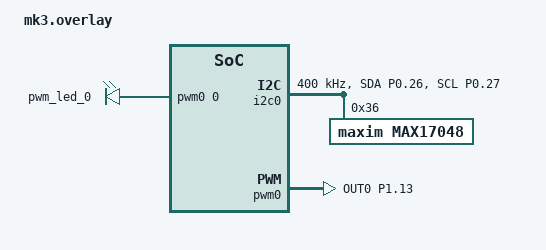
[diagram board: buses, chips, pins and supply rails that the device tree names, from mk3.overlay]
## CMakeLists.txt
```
#
# Copyright (c) 2020 Nordic Semiconductor ASA
#
# SPDX-License-Identifier: LicenseRef-Nordic-5-Clause
#
cmake_minimum_required(VERSION 3.20.0)

set(PM_STATIC_YML_FILE
  ${CMAKE_CURRENT_SOURCE_DIR}/boards/pm_static_${BOARD}.yml
  )

find_package(Zephyr REQUIRED HINTS $ENV{ZEPHYR_BASE})
project(NONE)

# NORDIC SDK APP START
FILE(GLOB src src/*.c)

target_sources(app PRIVATE 
    ${src}
)
target_include_directories(app PRIVATE include)
# NORDIC SDK APP END

# Preinitialization related to Thingy:53 DFU
target_sources_ifdef(CONFIG_BOARD_THINGY53_NRF5340_CPUAPP app PRIVATE
  boards/thingy53.c
)
target_sources_ifdef(CONFIG_BOARD_THINGY53_NRF5340_CPUAPP_NS app PRIVATE
  boards/thingy53.c
)
```

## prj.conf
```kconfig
#
# Copyright (c) 2020 Nordic Semiconductor ASA
#
# SPDX-License-Identifier: LicenseRef-Nordic-5-Clause
#
CONFIG_NCS_SAMPLES_DEFAULTS=y

# General configuration
CONFIG_SYSTEM_WORKQUEUE_STACK_SIZE=2048
CONFIG_FLASH=y
CONFIG_FLASH_MAP=y
CONFIG_NVS=y
CONFIG_SETTINGS=y
CONFIG_HWINFO=y
CONFIG_DK_LIBRARY=y
CONFIG_PARTITION_MANAGER_ENABLED=y
CONFIG_PM_SINGLE_IMAGE=y
CONFIG_PM_PARTITION_SIZE_SETTINGS_STORAGE=0x8000


# # Bootloader configuration
CONFIG_STREAM_FLASH=y
CONFIG_BOOTLOADER_MCUBOOT=y
CONFIG_IMG_MANAGER=y
CONFIG_MCUBOOT_IMG_MANAGER=y
CONFIG_MCUBOOT_GENERATE_CONFIRMED_IMAGE=y
CONFIG_MCUBOOT_IMGTOOL_SIGN_VERSION="1.0.0+0"
CONFIG_REBOOT=y

# Bluetooth configuration
CONFIG_BT=y
CONFIG_BT_COMPANY_ID=0x0059
CONFIG_BT_DEVICE_NAME="Maiori Toledo Light"
CONFIG_BT_L2CAP_TX_MTU=69
CONFIG_BT_L2CAP_TX_BUF_COUNT=8
CONFIG_BT_OBSERVER=y
CONFIG_BT_PERIPHERAL=y
CONFIG_BT_SETTINGS=y
CONFIG_BT_ECC=y
CONFIG_BT_TINYCRYPT_ECC=y

# Disable unused Bluetooth features
# CONFIG_BT_CTLR_DUP_FILTER_LEN=0
CONFIG_BT_CTLR_LE_ENC=n
CONFIG_BT_DATA_LEN_UPDATE=n
CONFIG_BT_PHY_UPDATE=n
CONFIG_BT_CTLR_CHAN_SEL_2=n
CONFIG_BT_CTLR_PRIVACY=n

# Bluetooth mesh configuration
CONFIG_BT_MESH=y
CONFIG_BT_MESH_V1d1=y
CONFIG_BT_MESH_RELAY=y
CONFIG_BT_MESH_FRIEND=y
CONFIG_BT_MESH_MSG_CACHE_SIZE=256
CONFIG_BT_MESH_ADV_BUF_COUNT=128
CONFIG_BT_MESH_TX_SEG_MAX=10
CONFIG_BT_MESH_RX_SEG_MAX=10
CONFIG_BT_MESH_TX_SEG_MSG_COUNT=2
CONFIG_BT_MESH_RX_SEG_MSG_COUNT=2
CONFIG_BT_MESH_PB_GATT=y
CONFIG_BT_MESH_PB_ADV=y
CONFIG_BT_MESH_GATT_PROXY=y
CONFIG_BT_MESH_DK_PROV=y
CONFIG_BT_MESH_PROXY_USE_DEVICE_NAME=y

# Bluetooth mesh models
CONFIG_BT_MESH_BLOB_SRV=y
CONFIG_BT_MESH_BLOB_IO_FLASH=y
CONFIG_BT_MESH_DFU_SRV=y
CONFIG_BT_MESH_DFU_METADATA=y
CONFIG_BT_MESH_SAR_CFG_SRV=y

# Reconfigure transport SAR for DFU
# Increase probability of delivering segmented messages
CONFIG_BT_MESH_SAR_TX_UNICAST_RETRANS_COUNT=0x5
CONFIG_BT_MESH_SAR_TX_UNICAST_RETRANS_WITHOUT_PROG_COUNT=0x3
# Reduce amount of generated SegAcks
CONFIG_BT_MESH_SAR_RX_ACK_DELAY_INC=0x7
CONFIG_BT_MESH_SAR_RX_SEG_INT_STEP=0xf
CONFIG_BT_MESH_SAR_RX_SEG_THRESHOLD=0x1f

# Debug configuration
CONFIG_BT_MESH_LOG_LEVEL_DBG=y
CONFIG_BT_MESH_MODEL_LOG_LEVEL_DBG=y
CONFIG_BT_MESH_DFU_LOG_LEVEL_DBG=y
CONFIG_BT_MESH_PROV_DEVICE_LOG_LEVEL_INF=y

# Disable unused Bluetooth features
CONFIG_BT_CTLR=y

# Bluetooth mesh models
CONFIG_BT_MESH_LIGHT_CTRL_SRV=y


# MAIORI BOARD
CONFIG_LOG=y
CONFIG_BT_LOG_LEVEL_ERR=y

CONFIG_ADC=n
CONFIG_NRFX_SAADC=y

CONFIG_I2C=y
CONFIG_PWM=y

CONFIG_NRFX_PWM0=y
CONFIG_NRFX_PWM1=y
CONFIG_NRFX_PWM2=y
CONFIG_NRFX_PWM3=y
# CONFIG_PWM_NRF5_SW=n
CONFIG_LED=y
CONFIG_LED_PWM=y
CONFIG_DEBUG_THREAD_INFO=y
CONFIG_DEBUG_OPTIMIZATIONS=y
CONFIG_SENSOR=y
CONFIG_FUEL_GAUGE=y
CONFIG_NRFX_PPI=y
CONFIG_NCS_SAMPLE_MCUMGR_BT_OTA_DFU=y
CONFIG_DFU_TARGET=y
CONFIG_NRF_FUEL_GAUGE=y
CONFIG_SMF=y
```

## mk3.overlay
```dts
/*
 * Copyright (c) 2022 Nordic Semiconductor ASA
 *
 * SPDX-License-Identifier: LicenseRef-Nordic-5-Clause
 */


/ {

    chosen {
        zephyr,bt-uart = &uart0;
        zephyr,bt-hci-rpmsg-ipc = &uart0;
        nordic,nus-uart = &uart0;
    };

    pwmleds {
        compatible = "pwm-leds";
        status = "okay";
        pwm-led0: pwm_led_0 {
            pwms = <&pwm0 0 PWM_MSEC(20) PWM_POLARITY_INVERTED>;
        };
    };

    aliases {
        lamp_pwm = &pwm-led0;
    };

};

&pinctrl {



    i2c0_default: i2c0_default {
        group1 {
            psels = <NRF_PSEL(TWIM_SDA, 0, 26)>,
                    <NRF_PSEL(TWIM_SCL, 0, 27)>;
        };
    };

    i2c0_sleep: i2c0_sleep {
        group1 {
            psels = <NRF_PSEL(TWIM_SDA, 0, 26)>,
                    <NRF_PSEL(TWIM_SCL, 0, 27)>;
            low-power-enable;
        };
    };

    pwm0_default_alt: pwm0_default_alt {
        group1 {
            psels = <NRF_PSEL(PWM_OUT0, 1, 13)>;
            nordic,invert;
        };
    };

    pwm0_sleep_alt: pwm0_sleep_alt {
        group1 {
            psels = <NRF_PSEL(PWM_OUT0, 1, 13)>;
            low-power-enable;
        };
    };
    /*
    pwm1_default_alt: pwm1_default_alt {
        group1 {
            psels = <NRF_PSEL(PWM_OUT1, 1, 14)>;
            nordic,invert;
        };
    };

    pwm1_sleep_alt: pwm1_sleep_alt {
        group1 {
            psels = <NRF_PSEL(PWM_OUT1, 1, 14)>;
            low-power-enable;
        };
    };

    pwm2_default_alt: pwm2_default_alt {
        group1 {
            psels = <NRF_PSEL(PWM_OUT2, 1, 10)>;
            nordic,invert;
        };
    };

    pwm2_sleep_alt: pwm2_sleep_alt {
        group1 {
            psels = <NRF_PSEL(PWM_OUT2, 1, 10)>;
            low-power-enable;
        };
    };

    pwm3_default_alt: pwm3_default_alt {
        group1 {
            psels = <NRF_PSEL(PWM_OUT3, 1, 12)>;
            nordic,invert;
        };
    };

    pwm3_sleep_alt: pwm3_sleep_alt {
        group1 {
            psels = <NRF_PSEL(PWM_OUT3, 1, 12)>;
            low-power-enable;
        };
    };
     */
};

&i2c0 {
    compatible = "nordic,nrf-twim";
    status = "okay";
    clock-frequency = <I2C_BITRATE_FAST>;

    pinctrl-0 = <&i2c0_default>;
    pinctrl-1 = <&i2c0_sleep>;
    pinctrl-names = "default", "sleep";

    max17048: max17048@36 {
        compatible = "maxim,max17048";
        status = "ok";
        reg = <0x36>;
        label = "max17048";
    };

    // max17262@36 {
        //     compatible = "maxim,max17262";
        //     reg = <0x36>;
        //     label = "max17262";
        //     design-voltage = <3600>;
        //     desired-voltage = <3600>;
        //     desired-charging-current = <2000>;
        //     design-cap = <2600>;
        //     empty-voltage = <2800>;
        //     recovery-voltage = <3880>;
        //     charge-voltage = <3600>;
        //     status = "okay";
    // };


};

&led1 {
    status = "disabled";
};
&led2 {
    status = "disabled";
};
&led3 {
    status = "disabled";
};
&led4 {
    status = "disabled";
};



&pwm0 {
    status = "okay";
    label = "led1out";
    pinctrl-0 = <&pwm0_default_alt>;
    pinctrl-1 = <&pwm0_sleep_alt>;
    pinctrl-names = "default", "sleep";
};
/*
&pwm1 {
    status = "okay";
    label = "led2out";
    pinctrl-0 = <&pwm1_default_alt>;
    pinctrl-1 = <&pwm1_sleep_alt>;
    pinctrl-names = "default", "sleep";
};

&pwm2 {
    status = "okay";
    label = "led3out";
    pinctrl-0 = <&pwm2_default_alt>;
    pinctrl-1 = <&pwm2_sleep_alt>;
    pinctrl-names = "default", "sleep";
};

&pwm3 {
    status = "okay";
    label = "led4out";
    pinctrl-0 = <&pwm3_default_alt>;
    pinctrl-1 = <&pwm3_sleep_alt>;
    pinctrl-names = "default", "sleep";
};
 */
```

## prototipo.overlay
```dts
/*
 * Copyright (c) 2022 Nordic Semiconductor ASA
 *
 * SPDX-License-Identifier: LicenseRef-Nordic-5-Clause
 */


/ {

	chosen {
		zephyr,bt-uart = &uart0;
		zephyr,bt-hci-rpmsg-ipc = &uart0;
		nordic,nus-uart = &uart0;
	};

	pwmleds {
		compatible = "pwm-leds";
		status = "okay";
		pwm-led0: pwm_led_0 {
			pwms = <&pwm0 0 PWM_MSEC(20) PWM_POLARITY_INVERTED>;
		};
	};

	aliases {
		lamp_pwm = &pwm-led0;
	};

};


&pinctrl {

	i2c0_default: i2c0_default {
		group1 {
			psels = <NRF_PSEL(TWIM_SDA, 0, 26)>,
					<NRF_PSEL(TWIM_SCL, 0, 27)>;
		};
	};

	i2c0_sleep: i2c0_sleep {
		group1 {
			psels = <NRF_PSEL(TWIM_SDA, 0, 26)>,
					<NRF_PSEL(TWIM_SCL, 0, 27)>;
			low-power-enable;
		};
	};

	pwm0_default_alt: pwm0_default_alt {
		group1 {
			psels = <NRF_PSEL(PWM_OUT0, 1, 13)>;
			nordic,invert;
		};
	};

	pwm0_sleep_alt: pwm0_sleep_alt {
		group1 {
			psels = <NRF_PSEL(PWM_OUT0, 1, 13)>;
			low-power-enable;
		};
	};
	/*
	pwm1_default_alt: pwm1_default_alt {
		group1 {
			psels = <NRF_PSEL(PWM_OUT1, 1, 14)>;
			nordic,invert;
		};
	};

	pwm1_sleep_alt: pwm1_sleep_alt {
		group1 {
			psels = <NRF_PSEL(PWM_OUT1, 1, 14)>;
			low-power-enable;
		};
	};

	pwm2_default_alt: pwm2_default_alt {
		group1 {
			psels = <NRF_PSEL(PWM_OUT2, 1, 10)>;
			nordic,invert;
		};
	};

	pwm2_sleep_alt: pwm2_sleep_alt {
		group1 {
			psels = <NRF_PSEL(PWM_OUT2, 1, 10)>;
			low-power-enable;
		};
	};

	pwm3_default_alt: pwm3_default_alt {
		group1 {
			psels = <NRF_PSEL(PWM_OUT3, 1, 12)>;
			nordic,invert;
		};
	};

	pwm3_sleep_alt: pwm3_sleep_alt {
		group1 {
			psels = <NRF_PSEL(PWM_OUT3, 1, 12)>;
			low-power-enable;
		};
	};
	 */
};

&i2c0 {
	compatible = "nordic,nrf-twim";
	status = "okay";
	clock-frequency = <I2C_BITRATE_FAST>;

	pinctrl-0 = <&i2c0_default>;
	pinctrl-1 = <&i2c0_sleep>;
	pinctrl-names = "default", "sleep";

	max17048: max17048@36 {
		compatible = "maxim,max17048";
		status = "ok";
		reg = <0x36>;
		label = "max17048";
	};

	// max17262@36 {
		//     compatible = "maxim,max17262";
		//     reg = <0x36>;
		//     label = "max17262";
		//     design-voltage = <3600>;
		//     desired-voltage = <3600>;
		//     desired-charging-current = <2000>;
		//     design-cap = <2600>;
		//     empty-voltage = <2800>;
		//     recovery-voltage = <3880>;
		//     charge-voltage = <3600>;
		//     status = "okay";
	// };


};

&led1 {
	status = "disabled";
};
&led2 {
	status = "disabled";
};
&led3 {
	status = "disabled";
};



&pwm0 {
	status = "okay";
	label = "led1out";
	pinctrl-0 = <&pwm0_default_alt>;
	pinctrl-1 = <&pwm0_sleep_alt>;
	pinctrl-names = "default", "sleep";
};

/*
&pwm1 {
	status = "okay";
	label = "led2out";
	pinctrl-0 = <&pwm1_default_alt>;
	pinctrl-1 = <&pwm1_sleep_alt>;
	pinctrl-names = "default", "sleep";
};

&pwm2 {
	status = "okay";
	label = "led3out";
	pinctrl-0 = <&pwm2_default_alt>;
	pinctrl-1 = <&pwm2_sleep_alt>;
	pinctrl-names = "default", "sleep";
};

&pwm3 {
	status = "okay";
	label = "led4out";
	pinctrl-0 = <&pwm3_default_alt>;
	pinctrl-1 = <&pwm3_sleep_alt>;
	pinctrl-names = "default", "sleep";
};
 */
```

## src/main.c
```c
/*

 TOLEDO BT MESH PROTOTYPE - NRF52840


 https://docs.zephyrproject.org/latest/samples/fuel_gauge/max17048/README.html
 

 */
#include <main.h>
#include <zephyr/smf.h>
// static const struct i2c_dt_spec dev_i2cpsu = I2C_DT_SPEC_GET(I2C0_NODE1);

int16_t adc_psu_stat;
int16_t adc_psu_vpd;
int16_t adc_vbat;
int16_t adc_led_det1;
int16_t adc_led_det2;
int16_t adc_led_det3;
int16_t adc_led_det4;
int16_t adc_led_det5;

uint8_t psuwr[2];


bool setPSUreg(uint8_t reg, uint8_t val)
{
	psuwr[0] = reg;
	psuwr[1] = val;
	// int err = i2c_write_dt(&dev_i2cpsu, &psuwr, 2);
	// if (err != 0)
	// {
	// 	printk("ERROR WRITING TO PSU REGISTER %x, VALUE  %x\n\r", reg, val);
	// 	return false;
	// }

	return true;
}


void button1_pressed(const struct device *dev, struct gpio_callback *cb,
					uint32_t pins)
{
	
	printk("BUTTON 1 PRESSED\n");

}

void button2_pressed(const struct device *dev, struct gpio_callback *cb,
					 uint32_t pins)
{

	printk("BUTTON 2 PRESSED\n");
}

/*
static uint32_t next_free_buf_index(void)
{
	static uint32_t buffer_index = -1;
	buffer_index = (buffer_index + 1) % SAADC_BUF_COUNT;
	return buffer_index;
}

static void timer_handler(nrf_timer_event_t event_type, void *p_context)
{
}

*/

/*
static void adcevent_handler(nrfx_saadc_evt_t const *p_event)
{
	int err_code;
	switch (p_event->type)
	{
	case NRFX_SAADC_EVT_DONE:
		printk("BATTERY CURRENT = %i\nPV VOLTAGE = %i\nVBAT = %i\nLED DRIVER 1 FB = %i\nLED DRIVER 2 FB = %i\nLED DRIVER 3 FB = %i\nLED DRIVER 4 FB = %i\nLED DRIVER 5 FB = %i\n", p_event->data.done.p_buffer[0], p_event->data.done.p_buffer[1], p_event->data.done.p_buffer[2], p_event->data.done.p_buffer[3], p_event->data.done.p_buffer[4], p_event->data.done.p_buffer[5], p_event->data.done.p_buffer[6], p_event->data.done.p_buffer[7]);

		adc_psu_stat = (int16_t)p_event->data.done.p_buffer[2];
		adc_psu_vpd = (int16_t)p_event->data.done.p_buffer[0];
		adc_vbat = (int16_t)p_event->data.done.p_buffer[1];
		adc_led_det1 = (int16_t)p_event->data.done.p_buffer[5];
		adc_led_det2 = (int16_t)p_event->data.done.p_buffer[4];
		adc_led_det3 = (int16_t)p_event->data.done.p_buffer[6];
		adc_led_det4 = (int16_t)p_event->data.done.p_buffer[7];
		adc_led_det5 = (int16_t)p_event->data.done.p_buffer[3];
		break;

	case NRFX_SAADC_EVT_BUF_REQ:
		// Set up the next available buffer
		err_code = nrfx_saadc_buffer_set(&samples[next_free_buf_index()][0], SAADC_BUF_SIZE);
		APP_ERROR_CHECK(err_code);
		break;
	default:
		NRF_LOG_INFO("SAADC evt %d", p_event->type);
		break;
	}
}

static void timer_init(void)
{
	nrfx_err_t err_code;

	nrfx_timer_config_t timer_config = NRFX_TIMER_DEFAULT_CONFIG;
	timer_config.frequency = NRF_TIMER_FREQ_31250Hz;
	err_code = nrfx_timer_init(&m_sample_timer, &timer_config, timer_handler);
	APP_ERROR_CHECK(err_code);
	nrfx_timer_extended_compare(&m_sample_timer,
								NRF_TIMER_CC_CHANNEL0,
								nrfx_timer_ms_to_ticks(&m_sample_timer, saadc_sampling_rate),
								NRF_TIMER_SHORT_COMPARE0_CLEAR_MASK,
								false);

	nrfx_timer_resume(&m_sample_timer);
}

static void ppi_init(void)
{
	// Trigger task sample from timer
	nrfx_err_t err_code = nrfx_ppi_channel_alloc(&m_timer_saadc_ppi_channel);
	APP_ERROR_CHECK(err_code);

	err_code = nrfx_ppi_channel_assign(m_timer_saadc_ppi_channel,
									   nrfx_timer_event_address_get(&m_sample_timer, NRF_TIMER_EVENT_COMPARE0),
									   nrf_saadc_task_address_get((NRF_SAADC_Type *)0x40007000, NRF_SAADC_TASK_SAMPLE));

	APP_ERROR_CHECK(err_code);

	err_code = nrfx_ppi_channel_enable(m_timer_saadc_ppi_channel);
	APP_ERROR_CHECK(err_code);
}

static void adc_configure(void)
{
	int err_code;

	nrfx_saadc_adv_config_t saadc_adv_config = NRFX_SAADC_DEFAULT_ADV_CONFIG;
	saadc_adv_config.internal_timer_cc = 0;
	saadc_adv_config.start_on_end = true;

	err_code = nrfx_saadc_init(6); // NRFX_SAADC_CONFIG_IRQ_PRIORITY
	APP_ERROR_CHECK(err_code);

	static nrfx_saadc_channel_t channel_configs[ADC_CHANNELS_IN_USE];

	uint8_t channel_mask = 0;
	for (int i = 0; i < ADC_CHANNELS_IN_USE; i++)
	{
		nrf_saadc_input_t pin = ANALOG_INPUT_MAP[i];
		// Apply default config to each channel
		nrfx_saadc_channel_t config = NRFX_SAADC_DEFAULT_CHANNEL_SE(pin, i);

		// Replace some parameters in default config
		config.channel_config.reference = NRF_SAADC_REFERENCE_VDD4;
		config.channel_config.gain = NRF_SAADC_GAIN1_4;

		// Copy to list of channel configs
		memcpy(&channel_configs[i], &config, sizeof(config));

		// Update channel mask
		channel_mask |= 1 << i;
	}

	err_code = nrfx_saadc_channels_config(channel_configs, ADC_CHANNELS_IN_USE);
	APP_ERROR_CHECK(err_code);

	err_code = nrfx_saadc_advanced_mode_set(channel_mask,
											NRF_SAADC_RESOLUTION_14BIT,
											&saadc_adv_config,
											adcevent_handler);
	APP_ERROR_CHECK(err_code);

	// Configure two buffers to ensure double buffering of samples, to avoid data loss when the sampling frequency is high
	err_code = nrfx_saadc_buffer_set(&samples[next_free_buf_index()][0], SAADC_BUF_SIZE);
	APP_ERROR_CHECK(err_code);

	err_code = nrfx_saadc_buffer_set(&samples[next_free_buf_index()][0], SAADC_BUF_SIZE);
	APP_ERROR_CHECK(err_code);

	err_code = nrfx_saadc_mode_trigger();
	APP_ERROR_CHECK(err_code);
}

*/


#define SLEEP_TIME_MS   500

int main(void)
{
	int err;

	printk("Initializing...\n");
	init_front_leds();
	init_lamp_leds();

	set_led_status(40);
	err = bt_enable(bt_ready);
	if (err) {
		printk("Bluetooth init failed (err %d)\n", err);
	}

	// pwm_init();

	/*
		adc_configure();
		ppi_init();
		timer_init();
	*/

	k_sem_give(&ble_init_ok);

	

	
	// int ret;
	// while (1) {
	// 	ret = gpio_pin_toggle_dt(&led_lamp1);
	// 	if (ret < 0) {
	// 		return 0;
	// 	}
	// 	ret = gpio_pin_toggle_dt(&led_lamp2);
	// 	if (ret < 0) {
	// 		return 0;
	// 	}
	// 	ret = gpio_pin_toggle_dt(&led_lamp3);
	// 	if (ret < 0) {
	// 		return 0;
	// 	}
	// 	ret = gpio_pin_toggle_dt(&led_lamp4);
	// 	if (ret < 0) {
	// 		return 0;
	// 	}
	// 	k_msleep(SLEEP_TIME_MS);
	// }
	

	// if (!device_is_ready(dev_i2cpsu.bus))
	// {
	// 	printk("I2C2 bus %s is not ready!\n\r", dev_i2cpsu.bus->name);
	// }
	// else
	// {
	// 	setPSUreg(0x00, MPP2722_REG_00);
	// 	setPSUreg(0x01, MPP2722_REG_01);
	// 	setPSUreg(0x02, MPP2722_REG_02);
	// 	setPSUreg(0x03, MPP2722_REG_03);
	// 	setPSUreg(0x04, MPP2722_REG_04);
	// 	setPSUreg(0x05, MPP2722_REG_05);
	// 	setPSUreg(0x06, MPP2722_REG_06);
	// 	setPSUreg(0x07, MPP2722_REG_07);
	// 	setPSUreg(0x08, MPP2722_REG_08);
	// 	setPSUreg(0x09, MPP2722_REG_09);
	// 	setPSUreg(0x0A, MPP2722_REG_0A);
	// 	setPSUreg(0x0B, MPP2722_REG_0B);
	// 	setPSUreg(0x0C, MPP2722_REG_0C);
	// 	setPSUreg(0x0D, MPP2722_REG_0D);
	// 	setPSUreg(0x0E, MPP2722_REG_0E);
	// 	setPSUreg(0x0F, MPP2722_REG_0F);

	// }

	for (;;)
	{
		k_sleep(K_MSEC(1000));
	}
}

K_THREAD_DEFINE(ble_write_thread_id, STACKSIZE, ble_write_thread, NULL, NULL,
				NULL, PRIORITY, 0, 0);

K_THREAD_DEFINE(fuel_gauge_thread_id, STACKSIZE, read_gauge, NULL, NULL, NULL, PRIORITY, 0, 0);
```

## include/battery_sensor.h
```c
#include "zephyr/sys/util.h"
#include <zephyr/kernel.h>
#include <zephyr/device.h>
#include <zephyr/devicetree.h>
#include <zephyr/drivers/fuel_gauge.h>

#ifndef FUEL_GAUGE_H
#define FUEL_GAUGE_H

struct battery_info
{
    int voltage;
    uint32_t runtime_to_empty;
    uint32_t runtime_to_full;
    uint8_t relative_state_of_charge;
};
extern struct battery_info device_battery;

int read_gauge(struct battery_info *bat_info);

#endif
```

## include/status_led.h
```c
#include <zephyr/drivers/gpio.h>

#ifndef STATUS_LED_H
#define STATUS_LED_H

#define LED_FRONT1 DT_ALIAS(led_front1)
#define LED_FRONT2 DT_ALIAS(led_front2)
#define LED_FRONT3 DT_ALIAS(led_front3)

static const struct gpio_dt_spec led_front1 = GPIO_DT_SPEC_GET(LED_FRONT1, gpios);
static const struct gpio_dt_spec led_front2 = GPIO_DT_SPEC_GET(LED_FRONT2, gpios);
static const struct gpio_dt_spec led_front3 = GPIO_DT_SPEC_GET(LED_FRONT3, gpios);

int init_front_leds(void);
int set_led_status(int level);
int set_led_status_state(int first, int second, int third);

#endif
```

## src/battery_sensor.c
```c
#include <battery_sensor.h>

int read_gauge(struct battery_info *bat_info)
{
	const struct device *const dev = DEVICE_DT_GET_ANY(max17048);
	int ret = 0;

	if (dev == NULL)
	{
		printk("\nError: no device found.\n");
		return 0;
	}

	if (!device_is_ready(dev))
	{
		printk("\nError: Device \"%s\" is not ready; "
			   "check the driver initialization logs for errors.\n",
			   dev->name);
		return 0;
	}

	printk("Found device \"%s\", getting fuel gauge data\n", dev->name);

	if (dev == NULL)
	{
		return 0;
	}

	struct fuel_gauge_get_property vals[] = {
		{property_type : FUEL_GAUGE_VOLTAGE},
		{property_type : FUEL_GAUGE_RUNTIME_TO_EMPTY},
		{property_type : FUEL_GAUGE_RUNTIME_TO_FULL},
		{property_type : FUEL_GAUGE_RELATIVE_STATE_OF_CHARGE},
	};

	ret = fuel_gauge_get_prop(dev, vals, ARRAY_SIZE(vals));
	if (ret < 0)
	{
		printk("Error: cannot get properties\n");
		return 0;
	}
	else
	{

		bat_info->runtime_to_empty = vals[0].value.runtime_to_empty;
		bat_info->runtime_to_full = vals[1].value.runtime_to_full;
		bat_info->relative_state_of_charge = vals[2].value.relative_state_of_charge;
		bat_info->voltage = vals[3].value.voltage;
		device_battery = *bat_info;

		printk("Time to empty %d\n", vals[0].value.runtime_to_empty);

		printk("Time to full %d\n", vals[1].value.runtime_to_full);

		printk("Charge %d%%\n", vals[2].value.relative_state_of_charge);

		printk("Voltage %d\n", vals[3].value.voltage);

		return 1;
	}
}
```

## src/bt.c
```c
#include <bt.h>

void bt_ready(int err)
{
	if (err) {
		printk("Bluetooth init failed (err %d)\n", err);
		return;
	}

	printk("Bluetooth initialized\n");

	dk_leds_init();
	dk_buttons_init(NULL);

	err = bt_mesh_init(bt_mesh_dk_prov_init(), model_handler_init());
	if (err) {
		printk("Initializing mesh failed (err %d)\n", err);
		return;
	}

	if (IS_ENABLED(CONFIG_SETTINGS)) {
		settings_load();
	}

	/* This will be a no-op if settings_load() loaded provisioning info */
	bt_mesh_prov_enable(BT_MESH_PROV_ADV | BT_MESH_PROV_GATT);

	printk("Mesh initialized\n");

	model_handler_start();
}

void ble_write_thread(void)
{
	k_sem_take(&ble_init_ok, K_FOREVER);

	// 2ND THREAD STARTED AFTER BT STACK INITIALIZED - PSU MANAGEMENT

	for (;;)
	{	
		k_sleep(K_MSEC(1000));
	}
	
}
```

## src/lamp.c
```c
#include <lamp.h>

int set_lamp(uint16_t state) {
    int ret;
	// ret = gpio_pin_set_dt(&led_lamp1, state);
	// if (ret < 0) {
	//     return 0;
	// }
	ret = gpio_pin_set_dt(&led_lamp2, state);
	if (ret < 0)
	{
		return 0;
	}
	ret = gpio_pin_set_dt(&led_lamp3, state);
	if (ret < 0) {
        return 0;
    }
    ret = gpio_pin_set_dt(&led_lamp4, state);
    if (ret < 0) {
        return 0;
    }
    return ret;
}

int init_lamp_leds(void) {
	int ret;
	if (
		// !gpio_is_ready_dt(&led_lamp1) &&
		!gpio_is_ready_dt(&led_lamp2) &&
		!gpio_is_ready_dt(&led_lamp3) &&
		!gpio_is_ready_dt(&led_lamp4))
	{
		return 0;
	}

	// ret = gpio_pin_configure_dt(&led_lamp1, GPIO_OUTPUT_ACTIVE);
	// if (ret < 0) {
	// 	return 0;
	// }
	ret = gpio_pin_configure_dt(&led_lamp2, GPIO_OUTPUT_ACTIVE);
	if (ret < 0) {
		return 0;
	}
	ret = gpio_pin_configure_dt(&led_lamp3, GPIO_OUTPUT_ACTIVE);
	if (ret < 0) {
		return 0;
	}
	ret = gpio_pin_configure_dt(&led_lamp4, GPIO_OUTPUT_ACTIVE);
	if (ret < 0) {
		return 0;
	}
	return ret;
}
```

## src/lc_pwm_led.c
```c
/*
 * Copyright (c) 2020 Nordic Semiconductor ASA
 *
 * SPDX-License-Identifier: LicenseRef-Nordic-5-Clause
 */


#include <lc_pwm_led.h>

// #define PWM_LED0_NODE	DT_ALIAS()

// #if DT_NODE_HAS_STATUS(PWM_LED0_NODE, okay)
// static const struct pwm_dt_spec led0 = PWM_DT_SPEC_GET(PWM_LED0_NODE);
// #else
// #error "Unsupported board: pwm-led0 devicetree alias is not defined"
// #endif

#define PWM_PERIOD 1024

// static nrfx_pwm_t my_pwm = NRFX_PWM_INSTANCE(1);

void pwm_init(void)
{
	// static nrfx_pwm_config_t config0 =
	// 	{
	// 		.output_pins =
	// 			{
	// 				45,	// channel 0
	// 				46,	// channel 1
	// 				42, // channel 2
	// 				44  // channel 3
	// 			},
	// 		.irq_priority = 5,
	// 		.base_clock = NRF_PWM_CLK_1MHz,
	// 		.count_mode = NRF_PWM_MODE_UP,
	// 		.top_value = PWM_COUNTERTOP,
	// 		.load_mode = NRF_PWM_LOAD_INDIVIDUAL,
	// 		.step_mode = NRF_PWM_STEP_AUTO};
	// return (nrfx_pwm_init(&my_pwm, &config0, NULL, NULL) == NRFX_SUCCESS) ? 0 : -1;

	// If PWM callbacks are to be used, remember to configure the interrupts correctly
	// IRQ_DIRECT_CONNECT(PWM1_IRQn, 0, nrfx_pwm_1_irq_handler, 0);
	// irq_enable(PWM1_IRQn);
}

void lc_pwm_led_set(uint16_t desired_lvl)
{
	// uint32_t scaled_lvl = (PWM_PERIOD * desired_lvl) / BT_MESH_LIGHTNESS_MAX; // add gamma correction

	// // pwm_set_dt(&pwm0, PWM_USEC(PWM_PERIOD), PWM_USEC(scaled_lvl));

	// static bool pwm_running = false;

	// // This array cannot be allocated on stack (hence "static") and it must be in RAM
	// static nrf_pwm_values_individual_t seq_values;

	// // Update the respective channels
	// seq_values.channel_0 = (scaled_lvl <= PWM_COUNTERTOP) ? scaled_lvl : PWM_COUNTERTOP;

	// nrf_pwm_sequence_t const seq =
	// 	{
	// 		.values.p_individual = &seq_values,
	// 		.length = NRF_PWM_VALUES_LENGTH(seq_values),
	// 		.repeats = 0,
	// 		.end_delay = 0};

	// if (!pwm_running)
	// {
	// 	pwm_running = true;
	// 	(void)nrfx_pwm_simple_playback(&my_pwm, &seq, 1000, NRFX_PWM_FLAG_LOOP);
	// }
}
```

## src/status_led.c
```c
#include <status_led.h>

int init_front_leds(void) {
	int ret = 1;
	if (!gpio_is_ready_dt(&led_front1) && !gpio_is_ready_dt(&led_front2) && !gpio_is_ready_dt(&led_front3)) {
		return 0;
	}

	ret = gpio_pin_configure_dt(&led_front1, GPIO_OUTPUT_ACTIVE);
	if (ret < 0) {
		return 0;
	}
	ret = gpio_pin_configure_dt(&led_front2, GPIO_OUTPUT_ACTIVE);
	if (ret < 0) {
		return 0;
	}
	ret = gpio_pin_configure_dt(&led_front3, GPIO_OUTPUT_ACTIVE);
	if (ret < 0) {
		return 0;
	}

	ret = gpio_pin_set_dt(&led_front1, 0);
	if (ret < 0) {
		return 0;
	}
	ret = gpio_pin_set_dt(&led_front2, 0);
	if (ret < 0) {
		return 0;
	}
	ret = gpio_pin_set_dt(&led_front3, 0);
	if (ret < 0) {
		return 0;
	}

	return ret;
}

int set_led_status_state(int first, int second, int third)
{
    int ret = 0;

    ret = gpio_pin_set_dt(&led_front1, first);
    if (ret < 0)
    {
        return 0;
    }
    ret = gpio_pin_set_dt(&led_front2, second);
    if (ret < 0)
    {
        return 0;
    }
    ret = gpio_pin_set_dt(&led_front3, third);
    if (ret < 0)
    {
        return 0;
    }
    return ret;
}

int set_led_status(int bat_level)
{
    int ret = 1;

    if (bat_level >= 0 && bat_level <= 30)
    {
        ret = set_led_status_state(1, 0, 0);
    }
    else if (bat_level > 30 && bat_level <= 60)
    {
        ret = set_led_status_state(1, 1, 0);
    }
    else if (bat_level > 60 && bat_level <= 100)
    {
        ret = set_led_status_state(1, 1, 1);
    }
    return ret;
}
```
